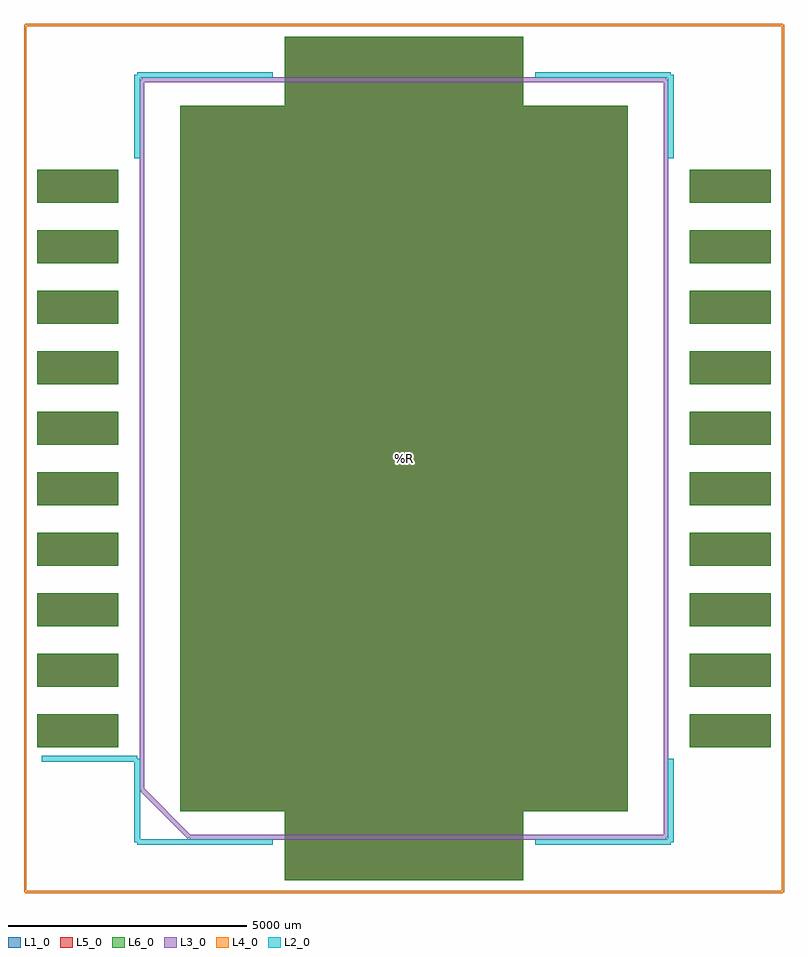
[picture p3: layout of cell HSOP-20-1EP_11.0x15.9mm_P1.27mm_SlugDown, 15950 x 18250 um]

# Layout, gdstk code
import gdstk
lib = gdstk.Library(unit=1e-6, precision=1e-09)
def R(c, l, rs):  # rectangles x0, y0, x1, y1
    for r in rs: c.add(gdstk.rectangle(r[:2], r[2:], *l))
def A(c, l, x, y, w, h, nx, ny, dx, dy):  # array of equal rectangles
    R(c, l, [(x+i*dx, y+j*dy, x+i*dx+w, y+j*dy+h) for i in range(nx) for j in range(ny)])
L1_0 = (1, 0)
L2_0 = (2, 0)
L3_0 = (3, 0)
L4_0 = (4, 0)
L5_0 = (5, 0)
L6_0 = (6, 0)

hsop_20_1ep_11_0x15_9mm_ = lib.new_cell('HSOP-20-1EP_11.0x15.9mm_P1.27mm_SlugDown')
A(hsop_20_1ep_11_0x15_9mm_, L1_0, -7700, -6065, 1700, 700, 1, 10, 0, 1270)
A(hsop_20_1ep_11_0x15_9mm_, L1_0, 6000, -6065, 1700, 700, 1, 10, 0, 1270)
R(hsop_20_1ep_11_0x15_9mm_, L1_0, [(-2500,-8850,2500,-7400), (-4700,-7400,4700,7400), (-2500,7400,2500,8850)])
A(hsop_20_1ep_11_0x15_9mm_, L5_0, -7700, -6065, 1700, 700, 1, 10, 0, 1270)
A(hsop_20_1ep_11_0x15_9mm_, L5_0, 6000, -6065, 1700, 700, 1, 10, 0, 1270)
R(hsop_20_1ep_11_0x15_9mm_, L5_0, [(-2500,-8850,2500,-7400), (-4700,-7400,4700,7400), (-2500,7400,2500,8850)])
A(hsop_20_1ep_11_0x15_9mm_, L6_0, -7700, -6065, 1700, 700, 1, 10, 0, 1270)
A(hsop_20_1ep_11_0x15_9mm_, L6_0, 6000, -6065, 1700, 700, 1, 10, 0, 1270)
R(hsop_20_1ep_11_0x15_9mm_, L6_0, [(-2500,-8850,2500,-7400), (-4700,-7400,4700,7400), (-2500,7400,2500,8850)])
hsop_20_1ep_11_0x15_9mm_.add(gdstk.FlexPath([(5600,-8050),(5600,-6300)], 120, ends="flush", simple_path=True, layer=2, datatype=0))  # L2_0
hsop_20_1ep_11_0x15_9mm_.add(gdstk.FlexPath([(5600,8050),(5600,6300)], 120, ends="flush", simple_path=True, layer=2, datatype=0))  # L2_0
hsop_20_1ep_11_0x15_9mm_.add(gdstk.FlexPath([(-2750,8050),(-5600,8050)], 120, ends="flush", simple_path=True, layer=2, datatype=0))  # L2_0
hsop_20_1ep_11_0x15_9mm_.add(gdstk.FlexPath([(-5600,8050),(-5600,6300)], 120, ends="flush", simple_path=True, layer=2, datatype=0))  # L2_0
hsop_20_1ep_11_0x15_9mm_.add(gdstk.FlexPath([(5600,-8050),(2750,-8050)], 120, ends="flush", simple_path=True, layer=2, datatype=0))  # L2_0
hsop_20_1ep_11_0x15_9mm_.add(gdstk.FlexPath([(-5600,-8050),(-5600,-6300)], 120, ends="flush", simple_path=True, layer=2, datatype=0))  # L2_0
hsop_20_1ep_11_0x15_9mm_.add(gdstk.FlexPath([(-5600,-6300),(-7600,-6300)], 120, ends="flush", simple_path=True, layer=2, datatype=0))  # L2_0
hsop_20_1ep_11_0x15_9mm_.add(gdstk.FlexPath([(-5500,7950),(5500,7950)], 100, ends="flush", simple_path=True, layer=3, datatype=0))  # L3_0
hsop_20_1ep_11_0x15_9mm_.add(gdstk.FlexPath([(5500,7950),(5500,-7950)], 100, ends="flush", simple_path=True, layer=3, datatype=0))  # L3_0
hsop_20_1ep_11_0x15_9mm_.add(gdstk.FlexPath([(5500,-7950),(-4500,-7950)], 100, ends="flush", simple_path=True, layer=3, datatype=0))  # L3_0
hsop_20_1ep_11_0x15_9mm_.add(gdstk.FlexPath([(-4500,-7950),(-5500,-6950)], 100, ends="flush", simple_path=True, layer=3, datatype=0))  # L3_0
hsop_20_1ep_11_0x15_9mm_.add(gdstk.FlexPath([(-5500,-6950),(-5500,7950)], 100, ends="flush", simple_path=True, layer=3, datatype=0))  # L3_0
hsop_20_1ep_11_0x15_9mm_.add(gdstk.FlexPath([(-7950,-9100),(7950,-9100)], 50, ends="flush", simple_path=True, layer=4, datatype=0))  # L4_0
hsop_20_1ep_11_0x15_9mm_.add(gdstk.FlexPath([(-7950,-9100),(-7950,9100)], 50, ends="flush", simple_path=True, layer=4, datatype=0))  # L4_0
hsop_20_1ep_11_0x15_9mm_.add(gdstk.FlexPath([(7950,9100),(7950,-9100)], 50, ends="flush", simple_path=True, layer=4, datatype=0))  # L4_0
hsop_20_1ep_11_0x15_9mm_.add(gdstk.FlexPath([(7950,9100),(-7950,9100)], 50, ends="flush", simple_path=True, layer=4, datatype=0))  # L4_0
hsop_20_1ep_11_0x15_9mm_.add(gdstk.FlexPath([(-2750,-8050),(-5600,-8050)], 120, ends="flush", simple_path=True, layer=2, datatype=0))  # L2_0
hsop_20_1ep_11_0x15_9mm_.add(gdstk.FlexPath([(5600,8050),(2750,8050)], 120, ends="flush", simple_path=True, layer=2, datatype=0))  # L2_0
hsop_20_1ep_11_0x15_9mm_.add(gdstk.Label('REF**', (0,-9800), layer=2, texttype=0))
hsop_20_1ep_11_0x15_9mm_.add(gdstk.Label('HSOP-20-1EP_11.0x15.9mm_P1.27mm_SlugDown', (0,9800), layer=3, texttype=0))
hsop_20_1ep_11_0x15_9mm_.add(gdstk.Label('%R', (0,0), layer=3, texttype=0))

lib.write_gds('HSOP-20-1EP_11.0x15.9mm_P1.27mm_SlugDown.gds')
